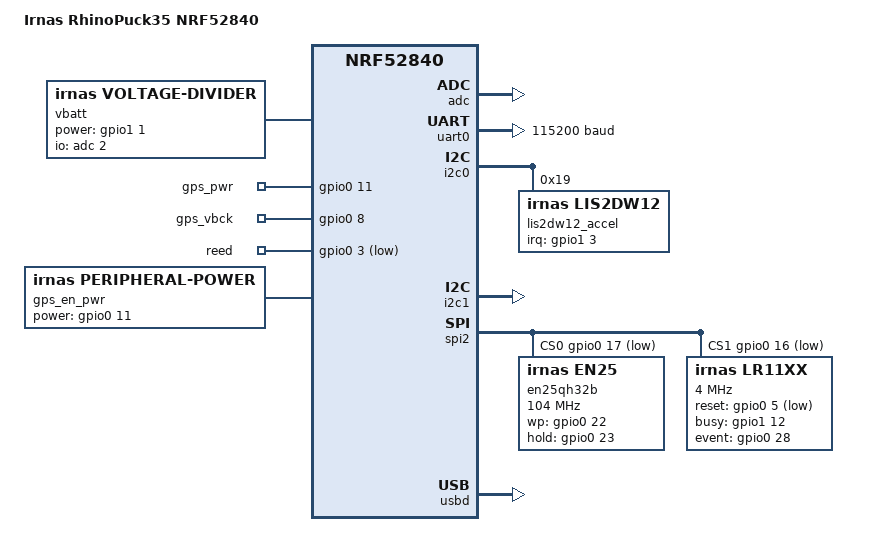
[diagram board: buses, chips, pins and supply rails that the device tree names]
/*
 * Copyright (c) 2017 Linaro Limited
 *
 * SPDX-License-Identifier: Apache-2.0
 */

/dts-v1/;
#include <nordic/nrf52840_qiaa.dtsi>
#include "rhinopuck35_nrf52840-pinctrl.dtsi"
#include <lr11xx_bindings_def.h>

/ {
	model = "Irnas RhinoPuck35 NRF52840";
	compatible = "nordic,rhinopuck35-nrf52840";

	chosen {
		zephyr,console = &uart0;
		zephyr,shell-uart = &uart0;
		zephyr,uart-mcumgr = &uart0;
		zephyr,bt-mon-uart = &uart0;
		zephyr,bt-c2h-uart = &uart0;
		zephyr,sram = &sram0;
		zephyr,flash = &flash0;
		zephyr,code-partition = &slot0_partition;
		nordic,pm-ext-flash = &en25qh32b;
	};

	vbatt {
		compatible = "irnas,voltage-divider";
		io-channels = <&adc 2>;
		lower-resistor-ohms = <10000>;
		upper-resistor-ohms = <10000>;
		power-gpios = <&gpio1 1 GPIO_ACTIVE_HIGH>;
		power-startup-delay-ms = <200>;
	};

	pins: pins {
		compatible = "gpio-keys";
		gps_pwr: gps_pwr {
			gpios = <&gpio0 11 GPIO_ACTIVE_HIGH>;
		};
		gps_vbck: gps_vbck {
			gpios = <&gpio0 8 GPIO_ACTIVE_HIGH>;
		};
		reed: reed {
			gpios = <&gpio0 3 GPIO_ACTIVE_LOW>;
		};
	};

	gps_en_pwr  {
		compatible = "irnas,peripheral-power";
		power-gpios = <&gpio0 11 GPIO_ACTIVE_HIGH>;
		initial-state = <0>;
		status = "okay";
	};

	aliases {
		gps-i2c = &i2c1;
		serial-uart = &uart0;
		external-flash = &en25qh32b;
	};
};

&adc {
	status = "okay";
};

&gpiote {
	status = "okay";
};

&gpio0 {
	status = "okay";
};

&gpio1 {
	status = "okay";
};

&uart0 {
	status = "okay";
	compatible = "nordic,nrf-uarte";
	current-speed = <115200>;
	pinctrl-0 = <&uart0_default>;
	pinctrl-1 = <&uart0_sleep>;
	pinctrl-names = "default", "sleep";
};

arduino_serial: &uart1 {
	status = "disabled";
};

arduino_i2c: &i2c0 {
	compatible = "nordic,nrf-twi";
	status = "okay";
	pinctrl-0 = <&i2c0_default>;
	pinctrl-1 = <&i2c0_sleep>;
	pinctrl-names = "default", "sleep";
	lis2dw12_accel: lis2dw12-accel@19 {
        compatible = "irnas,lis2dw12";
        reg = <0x19>;
		irq-gpios = <&gpio1 3 (GPIO_PULL_DOWN | GPIO_ACTIVE_HIGH)>;
        int-pin = <1>;
        range = <2>;
        power-mode = <1>;
        wu-threshold = <0x6>;
        wu-duration = <0x3>;
        fifo-mode = <0>;
        fifo-watermark = <24>;
    };
};

&i2c1 {// GPS SDA/SCL
	compatible = "nordic,nrf-twi";
	/* Cannot be used together with spi1. */
	status = "okay";
	pinctrl-0 = <&i2c1_default>;
	pinctrl-1 = <&i2c1_sleep>;
	pinctrl-names = "default", "sleep";
};

&spi0 {
	/* Cannot be used together with i2c0. */
	status = "disabled";
};

&spi1 {
	status = "disabled";
};

&spi2 {
	compatible = "nordic,nrf-spi";
	status = "okay";
	cs-gpios = <&gpio0 17 GPIO_ACTIVE_LOW>, <&gpio0 16 GPIO_ACTIVE_LOW>;

	pinctrl-0 = <&spi2_default>;
	pinctrl-1 = <&spi2_sleep>;
	pinctrl-names = "default", "sleep";
	en25qh32b: en25qh32b@0 {
		compatible = "irnas,en25";
		reg = <0>;
		spi-max-frequency = <104000000>;
		jedec-id = [ 1F 42 16  ]; //[ 1E 00 43  ];
		size = <33554432>;
		write-sector-size = <256>;
		erase-full-block-size = <65536>;
		erase-half-block-size = <32768>;
		erase-sector-size = <4096>;

		enter-dpd-delay = <30>;
		exit-dpd-delay = <30>;

		/* wp- and hold- gpios need to be set to active high due to a bug in the flash driver */
		wp-gpios = <&gpio0 22 GPIO_ACTIVE_HIGH>;
		hold-gpios = <&gpio0 23 GPIO_ACTIVE_HIGH>;
	};

	lr11xx: lr11xx@1 {
		compatible = "irnas,lr11xx";
		reg = <1>;
		spi-max-frequency = <4000000>;

		reset-gpios = <&gpio0 5 GPIO_ACTIVE_LOW>;
		busy-gpios = <&gpio1 12 GPIO_ACTIVE_HIGH>;
		event-gpios = <&gpio0 28 (GPIO_PULL_DOWN | GPIO_ACTIVE_HIGH)>;

		rf-sw-enable = <(LR11XX_DIO5 | LR11XX_DIO6 | LR11XX_DIO7 | LR11XX_DIO8)>;  // all DIOs used
		rf-sw-rx-mode = <LR11XX_DIO5>;  // receive - LNA_LF0 path active
		rf-sw-tx-mode = <LR11XX_DIO6>;  // send - PA_HP_LF active
		rf-sw-tx-hp-mode = <LR11XX_DIO6>;  // same as tx cause only RFO_HP_LF is connected
		rf-sw-tx-hf-mode = <LR11XX_DIO6>;  // same as tx cause only RFO_HP_LF is connected
		rf-sw-gnss-mode = <LR11XX_DIO8>;  // GPS_LNA enable

		lf-tx-path = <LR11XX_TX_PATH_LF_HP>;

		/* TCXO configuration */
		tcxo-supply = <LR11XX_TCXO_SUPPLY_1_8V>;
		tcxo-wakeup-time = <5>;

		/* LF clock config */
		lf-clk = <LR11XX_LFCLK_EXT>; /* EvaTODO - ask if this is ok */
		/* Regulator */
		reg-mode = <LR11XX_REG_MODE_DCDC>;
	};
};


&spi3 {
	status = "disabled";
};

&flash0 {
	/*
	 * For more information, see:
	 * http: //docs.zephyrproject.org/latest/guides/dts/index.html#flash-partitions
	 */
	partitions {
		compatible = "fixed-partitions";
		#address-cells = <1>;
		#size-cells = <1>;

		boot_partition: partition@0 {
			reg = <0x000000000 0x0000C000>;
		};
		slot0_partition: partition@c000 {
			reg = <0x0000C000 0x00067000>;
		};
		slot1_partition: partition@73000 {
			reg = <0x00073000 0x00067000>;
		};
		scratch_partition: partition@da000 {
			reg = <0x000da000 0x0001e000>;
		};

		/*
		 * The flash starting at 0x000f8000 and ending at
		 * 0x000fffff is reserved for use by the application.
		 */

		/*
		 * Storage partition will be used by FCB/LittleFS/NVS
		 * if enabled.
		 */
		storage_partition: partition@f8000 {
			reg = <0x000f8000 0x00008000>;
		};
	};
};

&usbd {
	compatible = "nordic,nrf-usbd";
	status = "okay";
};
